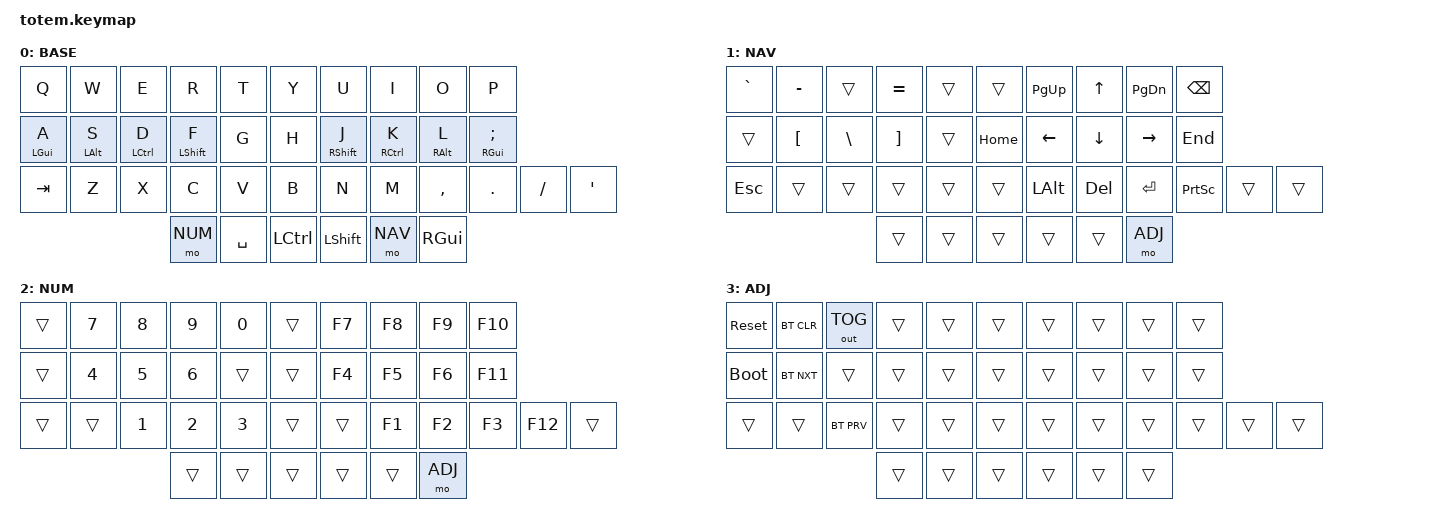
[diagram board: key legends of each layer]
// TOTEM keymap
// L0: BASE - QWERTY
// L1: NAV  - hold right middle thumb (arrows, nav, braces)
// L2: NUM  - hold left outer thumb (numpad + F-keys)
// L3: ADJ  - hold NUM then right outer thumb (system: reset, bootloader, BT)

#include <behaviors.dtsi>
#include <dt-bindings/zmk/keys.h>
#include <dt-bindings/zmk/bt.h>
#include <dt-bindings/zmk/outputs.h>

#define BASE 0
#define NAV  1
#define NUM  2
#define ADJ  3

/ {
    behaviors {
        // urob timeless HRM: left-hand mods trigger on right-hand/thumb keys
        hml: hml {
            bindings = <&kp>, <&kp>;
            compatible = "zmk,behavior-hold-tap";
            label = "HOMEROW_MOD_LEFT";
            #binding-cells = <2>;
            flavor = "balanced";
            // default tapping-term-ms was 280ms
            // this time is how long to hold a key on its own to count as a hold
            tapping-term-ms = <250>;
            quick-tap-ms = <175>;
            // default require-prior-idle-ms is 150ms
            // this is min time since last keypress before a press can be considered a hold
            require-prior-idle-ms = <120>;
            hold-trigger-key-positions
                = <5 6 7 8 9 15 16 17 18 19 25 26 27 28 29 30 31 32 33 34 35 36 37>;
            hold-trigger-on-release;
        };

        // urob timeless HRM: right-hand mods trigger on left-hand/thumb keys
        hmr: hmr {
            bindings = <&kp>, <&kp>;
            compatible = "zmk,behavior-hold-tap";
            label = "HOMEROW_MOD_RIGHT";
            #binding-cells = <2>;
            flavor = "balanced";
            tapping-term-ms = <280>;
            quick-tap-ms = <175>;
            require-prior-idle-ms = <150>;
            hold-trigger-key-positions
                = <0 1 2 3 4 10 11 12 13 14 20 21 22 23 24 32 33 34 35 36 37>;
            hold-trigger-on-release;
        };

    };

    combos {
        compatible = "zmk,combos";
        // Q+W chord = ESC keypress
        combo_esc {
            timeout-ms = <50>;
            key-positions = <0 1>;
            bindings = <&kp ESC>;
        };
        // Z+X chord = one-shot Win for 2s
        combo_win {
            timeout-ms = <50>;
            key-positions = <21 22>;
            bindings = <&sk LGUI>;
        };
        // O+P chord = Backspace
        combo_backspace {
            timeout-ms = <50>;
            key-positions = <8 9>;
            bindings = <&kp BSPC>;
        };
    };

    keymap {
        compatible = "zmk,keymap";

        base_layer {
            display-name = "BASE";
            //      Q   W   E   R   T        Y   U   I   O   P
            //      A   S   D   F   G        H   J   K   L   ;
            // TAB  Z   X   C   V   B        N   M   ,   .   /   '
            //             L2  SPC CTRL      SHFT L1  Win
            bindings = <
    &kp Q       &kp W       &kp E       &kp R       &kp T           &kp Y       &kp U       &kp I       &kp O       &kp P
    &hml LGUI A &hml LALT S &hml LCTL D &hml LSHFT F &kp G          &kp H       &hmr RSHFT J &hmr RCTL K &hmr RALT L &hmr RGUI    SEMI
    &kp TAB     &kp Z       &kp X       &kp C       &kp V       &kp B           &kp N       &kp M       &kp COMMA   &kp DOT     &kp FSLH    &kp SQT
                                    &mo NUM    &kp SPACE   &kp LCTRL      &kp LSHFT  &mo NAV    &kp RGUI
            >;
        };

        nav_layer {
            display-name = "NAV";
            //      GRAVE DASH   <>   EQUAL   <>           <>    PgUp  UP    PgDn    BkSp
            //      <>    LBRCE  BSLH RBRACE  <>       HOME  LEFT  DOWN  RGHT    END
            // ESC  <>    <>     <>   <>      <>           ALT   DEL   RET   PRTSC   <>     <>
            //                   <>    <>     <>      <>    <>    <>
            bindings = <
            &kp GRAVE   &kp MINUS   &trans      &kp EQUAL   &trans      &trans   &kp PG_UP   &kp UP      &kp PG_DN   &kp BSPC
            &trans      &kp LBKT    &kp BSLH    &kp RBKT    &trans      &kp HOME    &kp LEFT    &kp DOWN    &kp RIGHT   &kp END
    &kp ESC &trans      &trans      &trans      &trans      &trans      &kp LALT    &kp DEL     &kp RET     &kp PSCRN   &trans      &trans
                                    &trans      &trans      &trans      &trans      &trans     &mo ADJ
            >;
        };

        num_layer {
            display-name = "NUM";
            //      <>   7    8    9    0      <>   F7   F8   F9   F10
            //      <>   4    5    6    <>     <>   F4   F5   F6   F11
            // <>   <>   1    2    3    <>     <>   F1   F2   F3   F12   <>
            //                <>   <>   <>     <>   <>   <>
            bindings = <
                &trans      &kp N7      &kp N8      &kp N9      &kp N0          &trans      &kp F7      &kp F8      &kp F9      &kp F10
                &trans      &kp N4      &kp N5      &kp N6      &trans          &trans      &kp F4      &kp F5      &kp F6      &kp F11
    &trans      &trans      &kp N1      &kp N2      &kp N3      &trans          &trans      &kp F1      &kp F2      &kp F3      &kp F12     &trans
                                        &trans      &trans      &trans          &trans      &trans     &mo ADJ
            >;
        };

        adj_layer {
            display-name = "ADJ";
            // RST   BTCLR OUT   <>    <>       <>   <>   <>   <>   <>
            // BL    BTNXT <>    <>    <>       <>   <>   <>   <>   <>
            // <>    <>    BTPRV <>    <>    <>       <>   <>   <>   <>   <>   <>
            //                   <>    <>    <>        <>   <>   <>
            bindings = <
    &sys_reset  &bt BT_CLR  &out OUT_TOG &trans      &trans          &trans      &trans      &trans      &trans      &trans
    &bootloader &bt BT_NXT  &trans      &trans      &trans          &trans      &trans      &trans      &trans      &trans
    &trans      &trans      &bt BT_PRV  &trans      &trans      &trans      &trans      &trans      &trans      &trans      &trans      &trans
                                    &trans      &trans      &trans          &trans      &trans      &trans
            >;
        };
    };
};

